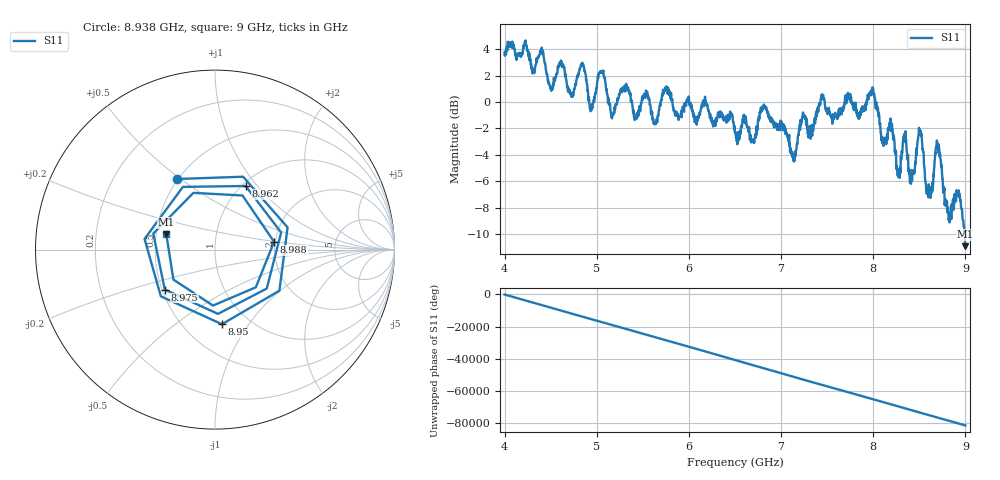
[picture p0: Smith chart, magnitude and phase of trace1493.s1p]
! Created with skrf 1.8.0 (http://scikit-rf.org).
# Hz S RI R 50.0
!freq ReS11 ImS11
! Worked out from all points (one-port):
!   1601 points, 4 GHz to 9 GHz, reference 50 ohm
!   lowest |S11| = -10.9 dB at 9 GHz (marker M1), VSWR 1.79, Z = 28.3 + j5.27 ohm
!   |S11| at or under -10 dB: 8.99009 GHz to end of sweep
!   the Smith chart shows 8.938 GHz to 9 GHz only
!   S11 on the Smith chart (normalised r, x): 8.938 GHz: 0.49, +0.48; 8.95 GHz: 0.75, -0.76; 8.962 GHz: 1.04, +0.87; 8.975 GHz: 0.52, -0.26; 8.988 GHz: 1.97, +0.19; 9 GHz: 0.57, +0.11
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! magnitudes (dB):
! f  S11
! 4 GHz  3.7
! 4.625 GHz  2.9
! 4.725 GHz  0.4
! 4.85 GHz  2.8
! 4.941 GHz  -0.5
! 5.047 GHz  2.2
! 5.166 GHz  -1.2
! 5.25 GHz  0.7
! 5.875 GHz  -1.0
! 6.5 GHz  -2.3
! 6.822 GHz  -0.5
! 7.125 GHz  -4.2
! 7.444 GHz  0.2
! 7.75 GHz  0.6
! 7.994 GHz  1.1
! 8.272 GHz  -5.4
! 8.375 GHz  -4.2
! 8.425 GHz  -5.4
! 8.506 GHz  -2.2
! 8.597 GHz  -7.2
! 8.7 GHz  -3.3
! 8.812 GHz  -8.3
! 8.938 GHz  -7.0
! 8.95 GHz  -7.6
! 8.962 GHz  -8.1
! 8.975 GHz  -8.9
! 8.988 GHz  -9.6
! 9 GHz  -10.9
